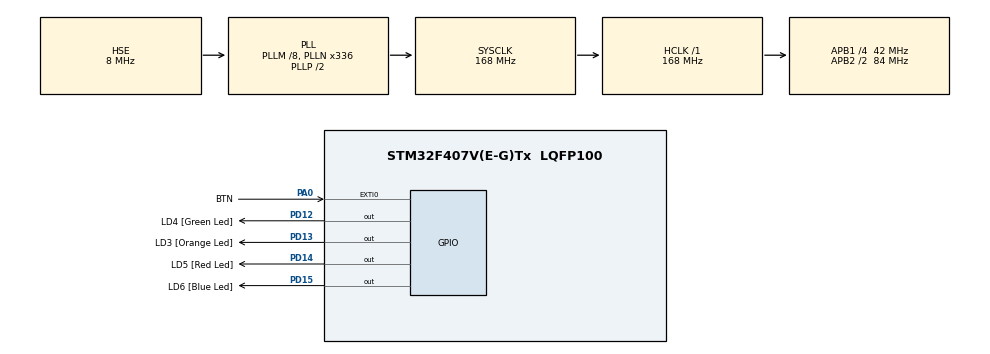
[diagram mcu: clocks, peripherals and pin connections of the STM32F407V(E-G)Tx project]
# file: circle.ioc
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Mcu.Family=STM32F4
Mcu.Name=STM32F407V(E-G)Tx
Mcu.Package=LQFP100
NVIC.EXTI0_IRQn=true\:0\:0\:false\:false\:true\:true\:true\:true
NVIC.PriorityGroup=NVIC_PRIORITYGROUP_0
NVIC.TIM6_DAC_IRQn=true\:0\:0\:false\:false\:true\:true\:true\:true
PA0-WKUP.GPIO_Label=BTN
PA0-WKUP.Signal=GPXTI0
PA13.GPIO_Label=SWDIO
PA13.Mode=Serial_Wire
PA13.Signal=SYS_JTMS-SWDIO
PA14.GPIO_Label=SWCLK
PA14.Mode=Serial_Wire
PA14.Signal=SYS_JTCK-SWCLK
PD12.GPIO_Label=LD4 [Green Led]
PD12.GPIO_PuPd=GPIO_NOPULL
PD12.GPIO_Speed=GPIO_SPEED_FREQ_LOW
PD12.Signal=GPIO_Output
PD13.GPIO_Label=LD3 [Orange Led]
PD13.GPIO_PuPd=GPIO_NOPULL
PD13.GPIO_Speed=GPIO_SPEED_FREQ_LOW
PD13.Signal=GPIO_Output
PD14.GPIO_Label=LD5 [Red Led]
PD14.GPIO_PuPd=GPIO_NOPULL
PD14.GPIO_Speed=GPIO_SPEED_FREQ_LOW
PD14.Signal=GPIO_Output
PD15.GPIO_Label=LD6 [Blue Led]
PD15.GPIO_PuPd=GPIO_NOPULL
PD15.GPIO_Speed=GPIO_SPEED_FREQ_LOW
PD15.Signal=GPIO_Output
PH0-OSC_IN.GPIO_Label=PH0-OSC_IN
PH0-OSC_IN.Mode=HSE-External-Oscillator
PH0-OSC_IN.Signal=RCC_OSC_IN
PH1-OSC_OUT.GPIO_Label=PH1-OSC_OUT
PH1-OSC_OUT.Mode=HSE-External-Oscillator
PH1-OSC_OUT.Signal=RCC_OSC_OUT
ProjectManager.HeapSize=0x200
ProjectManager.StackSize=0x400
ProjectManager.TargetToolchain=STM32CubeIDE
RCC.48MHZClocksFreq_Value=48000000
RCC.AHBFreq_Value=168000000
RCC.APB1CLKDivider=RCC_HCLK_DIV4
RCC.APB1Freq_Value=42000000
RCC.APB1TimFreq_Value=84000000
RCC.APB2CLKDivider=RCC_HCLK_DIV2
RCC.APB2Freq_Value=84000000
RCC.APB2TimFreq_Value=168000000
RCC.CortexFreq_Value=168000000
RCC.HCLKFreq_Value=168000000
RCC.HSE_VALUE=8000000
RCC.HSI_VALUE=16000000
RCC.LSE_VALUE=32768
RCC.PLLM=8
RCC.PLLN=336
RCC.PLLQ=7
RCC.PLLSourceVirtual=RCC_PLLSOURCE_HSE
RCC.SYSCLKFreq_VALUE=168000000
RCC.SYSCLKSource=RCC_SYSCLKSOURCE_PLLCLK
RCC.VCOOutputFreq_Value=336000000
TIM6.AutoReloadPreload=TIM_AUTORELOAD_PRELOAD_ENABLE
TIM6.Period=10000
TIM6.Prescaler=8399
VP_TIM6_VS_ClockSourceINT.Mode=Enable_Timer
board=STM32F407G-DISC1

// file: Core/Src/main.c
/* USER CODE BEGIN Header */
/**
  ******************************************************************************
  * @file           : main.c
  * @brief          : Main program body
  ******************************************************************************
  * @attention
  *
  * Copyright (c) 2022 STMicroelectronics.
  * All rights reserved.
  *
  * This software is licensed under terms that can be found in the LICENSE file
  * in the root directory of this software component.
  * If no LICENSE file comes with this software, it is provided AS-IS.
  *
  ******************************************************************************
  */
/* USER CODE END Header */
#include "main.h"

/* USER CODE BEGIN PD */
#define LED_GPIO_Port LD3_GPIO_Port
/* USER CODE END PD */

 TIM_HandleTypeDef htim6;

/* USER CODE BEGIN PV */

const uint32_t speeds[] = {
		10000,
		5000,
		4000,
		3000,
		1000,
		500,
		250,
		100
};

const int8_t speeds_count = sizeof(speeds) / sizeof(speeds[0]);

const uint16_t leds[] = {
		LD3_Pin,
		LD4_Pin,
		LD6_Pin,
		LD5_Pin
};

const int8_t leds_count = sizeof(leds) / sizeof(leds[0]);

const GPIO_PinState states[][4] = {
		{GPIO_PIN_SET, GPIO_PIN_RESET, GPIO_PIN_RESET, GPIO_PIN_RESET},
		{GPIO_PIN_RESET, GPIO_PIN_SET, GPIO_PIN_RESET, GPIO_PIN_RESET},
		{GPIO_PIN_RESET, GPIO_PIN_RESET, GPIO_PIN_SET, GPIO_PIN_RESET},
		{GPIO_PIN_RESET, GPIO_PIN_RESET, GPIO_PIN_RESET, GPIO_PIN_SET}
};

const int8_t states_count = sizeof(states) / sizeof(states[0]);

uint8_t speed = 1;
uint8_t state = 0;

/* USER CODE END PV */

void SystemClock_Config(void);
static void MX_GPIO_Init(void);
static void MX_TIM6_Init(void);

/* USER CODE BEGIN 0 */

void HAL_TIM_PeriodElapsedCallback(TIM_HandleTypeDef *htim) {
	if (htim->Instance == TIM6) {
		for (uint8_t i = 0; i < leds_count; ++i) {
			HAL_GPIO_WritePin(LED_GPIO_Port, leds[i], states[state][i]);
		}
		++state;
		if (state >= states_count) state = 0;
	}
}

void HAL_GPIO_EXTI_Callback(uint16_t GPIO_Pin) {
	if (GPIO_Pin == BTN_Pin) // If the button
	{
		__HAL_TIM_SET_AUTORELOAD(&htim6, speeds[speed]);
		++speed;
		if ( speed >= speeds_count ) speed = 0;

	}
}

/* USER CODE END 0 */

int main(void)
{

  /* MCU Configuration--------------------------------------------------------*/

  /* Reset of all peripherals, Initializes the Flash interface and the Systick. */
  HAL_Init();

  /* Configure the system clock */
  SystemClock_Config();

  /* Initialize all configured peripherals */
  MX_GPIO_Init();
  MX_TIM6_Init();
  /* USER CODE BEGIN 2 */

  HAL_TIM_Base_Start_IT(&htim6);

  /* USER CODE END 2 */

  /* Infinite loop */
  while (1)
  {

  }
}

void SystemClock_Config(void)
{
  RCC_OscInitTypeDef RCC_OscInitStruct = {0};
  RCC_ClkInitTypeDef RCC_ClkInitStruct = {0};

  /** Configure the main internal regulator output voltage
  */
  __HAL_RCC_PWR_CLK_ENABLE();
  __HAL_PWR_VOLTAGESCALING_CONFIG(PWR_REGULATOR_VOLTAGE_SCALE1);

  /** Initializes the RCC Oscillators according to the specified parameters
  * in the RCC_OscInitTypeDef structure.
  */
  RCC_OscInitStruct.OscillatorType = RCC_OSCILLATORTYPE_HSE;
  RCC_OscInitStruct.HSEState = RCC_HSE_ON;
  RCC_OscInitStruct.PLL.PLLState = RCC_PLL_ON;
  RCC_OscInitStruct.PLL.PLLSource = RCC_PLLSOURCE_HSE;
  RCC_OscInitStruct.PLL.PLLM = 8;
  RCC_OscInitStruct.PLL.PLLN = 336;
  RCC_OscInitStruct.PLL.PLLP = RCC_PLLP_DIV2;
  RCC_OscInitStruct.PLL.PLLQ = 7;
  if (HAL_RCC_OscConfig(&RCC_OscInitStruct) != HAL_OK)
  {
    Error_Handler();
  }

  /** Initializes the CPU, AHB and APB buses clocks
  */
  RCC_ClkInitStruct.ClockType = RCC_CLOCKTYPE_HCLK|RCC_CLOCKTYPE_SYSCLK
                              |RCC_CLOCKTYPE_PCLK1|RCC_CLOCKTYPE_PCLK2;
  RCC_ClkInitStruct.SYSCLKSource = RCC_SYSCLKSOURCE_PLLCLK;
  RCC_ClkInitStruct.AHBCLKDivider = RCC_SYSCLK_DIV1;
  RCC_ClkInitStruct.APB1CLKDivider = RCC_HCLK_DIV4;
  RCC_ClkInitStruct.APB2CLKDivider = RCC_HCLK_DIV2;

  if (HAL_RCC_ClockConfig(&RCC_ClkInitStruct, FLASH_LATENCY_5) != HAL_OK)
  {
    Error_Handler();
  }
}

static void MX_TIM6_Init(void)
{

  TIM_MasterConfigTypeDef sMasterConfig = {0};

  htim6.Instance = TIM6;
  htim6.Init.Prescaler = 8399;
  htim6.Init.CounterMode = TIM_COUNTERMODE_UP;
  htim6.Init.Period = 10000;
  htim6.Init.AutoReloadPreload = TIM_AUTORELOAD_PRELOAD_ENABLE;
  if (HAL_TIM_Base_Init(&htim6) != HAL_OK)
  {
    Error_Handler();
  }
  sMasterConfig.MasterOutputTrigger = TIM_TRGO_RESET;
  sMasterConfig.MasterSlaveMode = TIM_MASTERSLAVEMODE_DISABLE;
  if (HAL_TIMEx_MasterConfigSynchronization(&htim6, &sMasterConfig) != HAL_OK)
  {
    Error_Handler();
  }

}

static void MX_GPIO_Init(void)
{
  GPIO_InitTypeDef GPIO_InitStruct = {0};

  /* GPIO Ports Clock Enable */
  __HAL_RCC_GPIOH_CLK_ENABLE();
  __HAL_RCC_GPIOA_CLK_ENABLE();
  __HAL_RCC_GPIOD_CLK_ENABLE();

  /*Configure GPIO pin Output Level */
  HAL_GPIO_WritePin(GPIOD, LD4_Pin|LD3_Pin|LD5_Pin|LD6_Pin, GPIO_PIN_RESET);

  /*Configure GPIO pin : BTN_Pin */
  GPIO_InitStruct.Pin = BTN_Pin;
  GPIO_InitStruct.Mode = GPIO_MODE_IT_RISING;
  GPIO_InitStruct.Pull = GPIO_NOPULL;
  HAL_GPIO_Init(BTN_GPIO_Port, &GPIO_InitStruct);

  /*Configure GPIO pins : LD4_Pin LD3_Pin LD5_Pin LD6_Pin */
  GPIO_InitStruct.Pin = LD4_Pin|LD3_Pin|LD5_Pin|LD6_Pin;
  GPIO_InitStruct.Mode = GPIO_MODE_OUTPUT_PP;
  GPIO_InitStruct.Pull = GPIO_NOPULL;
  GPIO_InitStruct.Speed = GPIO_SPEED_FREQ_LOW;
  HAL_GPIO_Init(GPIOD, &GPIO_InitStruct);

  /* EXTI interrupt init*/
  HAL_NVIC_SetPriority(EXTI0_IRQn, 0, 0);
  HAL_NVIC_EnableIRQ(EXTI0_IRQn);

}

void Error_Handler(void)
{
  __disable_irq();
  while (1)
  {
  }
}
